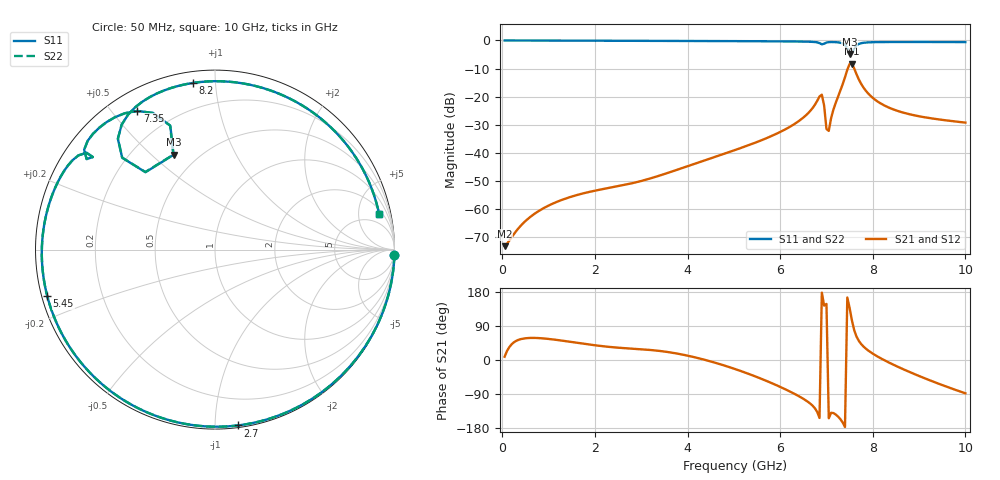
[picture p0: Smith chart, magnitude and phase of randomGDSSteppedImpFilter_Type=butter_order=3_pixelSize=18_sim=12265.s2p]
! freq	dB(S11)	phase(S11)	dB(S12)	phase(S12)
!  dB(S21)	phase(S21)	dB(S22)	phase(S22)
!S-par simulation data
#  GHz  S  DB  R 50
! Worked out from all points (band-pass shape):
!   200 points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, 50 MHz to 10 GHz, reference 50 ohm
!   highest |S21| = -8.31 dB at 7.55 GHz (marker M1); lowest = -73.3 dB at 50 MHz (marker M2)
!   |S21| within 3 dB of the highest: 7.434 GHz to 7.631 GHz (197 MHz wide, 2.61 % of centre)
!   lowest |S11| = -4.8 dB at 7.5 GHz (marker M3), VSWR 3.72, Z = 18.6 + j29.4 ohm
!   |S11| at or under -10 dB: nowhere
!   |S22| runs from -4.8 to 0.0 dB; largest |S21 - S12| = 0
!   S11 on the Smith chart (normalised r, x): 50 MHz: 0, -73; 2.7 GHz: 0.01, -1.14; 5.45 GHz: 0.02, -0.14; 7.35 GHz: 0.08, +0.58; 8.2 GHz: 0.06, +0.88; 10 GHz: 2.65, +8.49
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0.05  -0.00 -1.6  -73.34 8.6  -73.34 8.6  -0.00 -1.6
0.7  -0.02 -22.0  -61.75 58.3  -61.75 58.3  -0.02 -22.0
1.75  -0.07 -54.2  -54.50 43.0  -54.50 43.0  -0.07 -54.2
2.7  -0.11 -82.5  -51.29 30.7  -51.29 30.7  -0.11 -82.5
3.4  -0.14 -103.0  -48.16 23.9  -48.16 23.9  -0.14 -103.0
5.05  -0.23 -152.0  -38.93 -24.8  -38.93 -24.8  -0.23 -152.0
5.45  -0.27 -164.6  -36.52 -42.7  -36.52 -42.7  -0.27 -164.6
6.7  -0.50 150.2  -24.11 -120.5  -24.11 -120.5  -0.50 150.3
6.9  -1.37 142.8  -19.34 177.7  -19.34 177.7  -1.37 142.9
6.95  -1.16 144.8  -23.24 143.5  -23.24 143.5  -1.16 144.8
7  -0.75 142.7  -31.58 148.0  -31.58 148.0  -0.75 142.7
7.05  -0.60 139.5  -32.24 -153.7  -32.24 -153.7  -0.60 139.5
7.15  -0.57 133.5  -24.65 -139.9  -24.65 -139.9  -0.57 133.5
7.35  -1.06 119.2  -15.63 -164.8  -15.63 -164.8  -1.05 119.3
7.5  -4.79 113.6  -8.38 137.3  -8.38 137.3  -4.77 113.7
7.55  -4.74 131.9  -8.31 104.3  -8.31 104.3  -4.72 131.9
7.65  -1.71 131.2  -12.09 61.5  -12.09 61.5  -1.71 131.2
7.85  -0.74 116.1  -17.93 30.0  -17.93 30.0  -0.74 116.1
8.2  -0.57 97.4  -22.74 2.6  -22.74 2.6  -0.57 97.4
8.35  -0.55 90.1  -23.96 -6.8  -23.96 -6.8  -0.55 90.1
9.1  -0.55 54.0  -27.33 -47.2  -27.33 -47.2  -0.55 54.0
10  -0.58 12.3  -29.29 -88.0  -29.29 -88.0  -0.58 12.3
